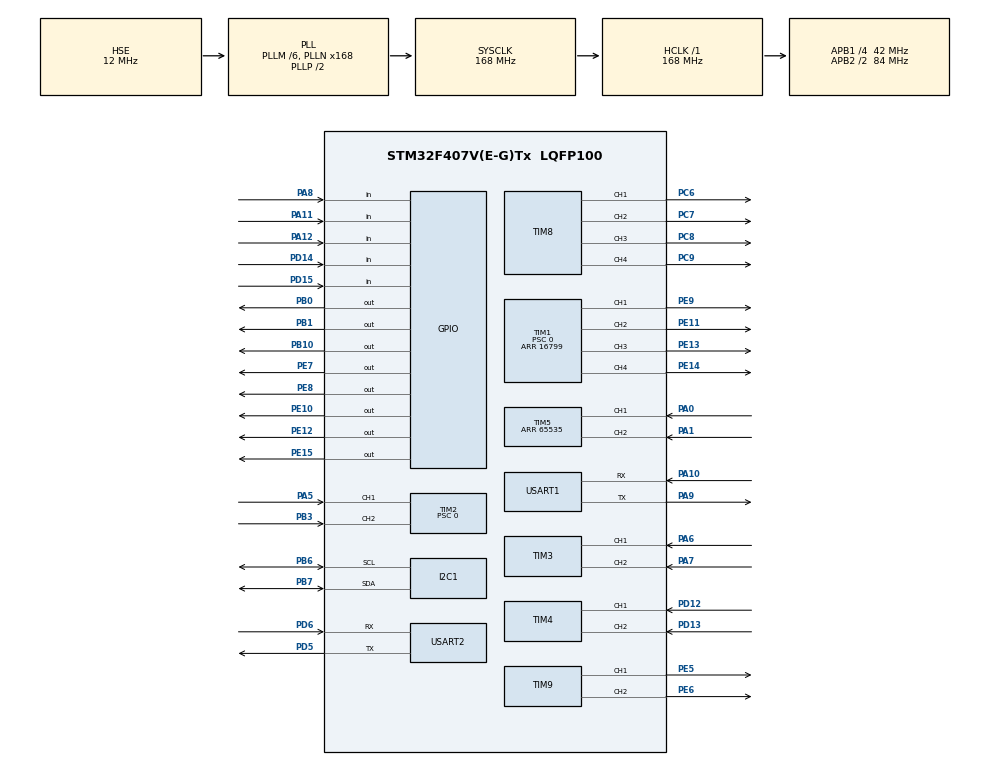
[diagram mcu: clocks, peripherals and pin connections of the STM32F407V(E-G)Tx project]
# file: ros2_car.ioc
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FREERTOS.Tasks01=defaultTask,0,128,StartDefaultTask,Default,NULL,Dynamic,NULL,NULL;show_task,-3,128,StartTask02,Default,NULL,Dynamic,NULL,NULL;motor_task,-3,128,Motor_task,Default,NULL,Dynamic,NULL,NULL
I2C1.I2C_Mode=I2C_Fast
Mcu.Family=STM32F4
Mcu.Name=STM32F407V(E-G)Tx
Mcu.Package=LQFP100
NVIC.PriorityGroup=NVIC_PRIORITYGROUP_4
NVIC.TIM7_IRQn=true\:15\:0\:false\:false\:true\:false\:false\:true\:true
NVIC.TimeBase=TIM7_IRQn
NVIC.TimeBaseIP=TIM7
PA0-WKUP.Signal=S_TIM5_CH1
PA1.Signal=S_TIM5_CH2
PA10.Mode=Asynchronous
PA10.Signal=USART1_RX
PA11.Signal=GPIO_Input
PA12.Signal=GPIO_Input
PA13.Mode=Serial_Wire
PA13.Signal=SYS_JTMS-SWDIO
PA14.Mode=Serial_Wire
PA14.Signal=SYS_JTCK-SWCLK
PA5.Signal=S_TIM2_CH1_ETR
PA6.Signal=S_TIM3_CH1
PA7.Signal=S_TIM3_CH2
PA8.Signal=GPIO_Input
PA9.Mode=Asynchronous
PA9.Signal=USART1_TX
PB0.Signal=GPIO_Output
PB1.Signal=GPIO_Output
PB10.Signal=GPIO_Output
PB3.Signal=S_TIM2_CH2
PB6.Mode=I2C
PB6.Signal=I2C1_SCL
PB7.Mode=I2C
PB7.Signal=I2C1_SDA
PC6.Signal=S_TIM8_CH1
PC7.Signal=S_TIM8_CH2
PC8.Signal=S_TIM8_CH3
PC9.Signal=S_TIM8_CH4
PD12.Signal=S_TIM4_CH1
PD13.Signal=S_TIM4_CH2
PD14.Signal=GPIO_Input
PD15.Signal=GPIO_Input
PD5.Mode=Asynchronous
PD5.Signal=USART2_TX
PD6.Mode=Asynchronous
PD6.Signal=USART2_RX
PE10.Signal=GPIO_Output
PE11.Signal=S_TIM1_CH2
PE12.Signal=GPIO_Output
PE13.Signal=S_TIM1_CH3
PE14.Signal=S_TIM1_CH4
PE15.Signal=GPIO_Output
PE5.Signal=S_TIM9_CH1
PE6.Signal=S_TIM9_CH2
PE7.Signal=GPIO_Output
PE8.Signal=GPIO_Output
PE9.Signal=S_TIM1_CH1
PH0-OSC_IN.Mode=HSE-External-Oscillator
PH0-OSC_IN.Signal=RCC_OSC_IN
PH1-OSC_OUT.Mode=HSE-External-Oscillator
PH1-OSC_OUT.Signal=RCC_OSC_OUT
ProjectManager.HeapSize=0x200
ProjectManager.StackSize=0x400
ProjectManager.TargetToolchain=CMake
RCC.48MHZClocksFreq_Value=84000000
RCC.AHBFreq_Value=168000000
RCC.APB1CLKDivider=RCC_HCLK_DIV4
RCC.APB1Freq_Value=42000000
RCC.APB1TimFreq_Value=84000000
RCC.APB2CLKDivider=RCC_HCLK_DIV2
RCC.APB2Freq_Value=84000000
RCC.APB2TimFreq_Value=168000000
RCC.CortexFreq_Value=168000000
RCC.HCLKFreq_Value=168000000
RCC.HSE_VALUE=12000000
RCC.HSI_VALUE=16000000
RCC.LSE_VALUE=32768
RCC.PLLM=6
RCC.PLLN=168
RCC.PLLSourceVirtual=RCC_PLLSOURCE_HSE
RCC.SYSCLKFreq_VALUE=168000000
RCC.SYSCLKSource=RCC_SYSCLKSOURCE_PLLCLK
RCC.VCOOutputFreq_Value=336000000
SH.S_TIM1_CH1.0=TIM1_CH1,PWM Generation1 CH1
SH.S_TIM1_CH2.0=TIM1_CH2,PWM Generation2 CH2
SH.S_TIM1_CH3.0=TIM1_CH3,PWM Generation3 CH3
SH.S_TIM1_CH4.0=TIM1_CH4,PWM Generation4 CH4
SH.S_TIM2_CH1_ETR.0=TIM2_CH1,Encoder_Interface
SH.S_TIM2_CH2.0=TIM2_CH2,Encoder_Interface
SH.S_TIM3_CH1.0=TIM3_CH1,Encoder_Interface
SH.S_TIM3_CH2.0=TIM3_CH2,Encoder_Interface
SH.S_TIM4_CH1.0=TIM4_CH1,Encoder_Interface
SH.S_TIM4_CH2.0=TIM4_CH2,Encoder_Interface
SH.S_TIM5_CH1.0=TIM5_CH1,Encoder_Interface
SH.S_TIM5_CH2.0=TIM5_CH2,Encoder_Interface
SH.S_TIM8_CH1.0=TIM8_CH1,PWM Generation1 CH1
SH.S_TIM8_CH2.0=TIM8_CH2,PWM Generation2 CH2
SH.S_TIM8_CH3.0=TIM8_CH3,PWM Generation3 CH3
SH.S_TIM8_CH4.0=TIM8_CH4,PWM Generation4 CH4
SH.S_TIM9_CH1.0=TIM9_CH1,PWM Generation1 CH1
SH.S_TIM9_CH2.0=TIM9_CH2,PWM Generation2 CH2
TIM1.Channel-PWM\ Generation1\ CH1=TIM_CHANNEL_1
TIM1.Channel-PWM\ Generation2\ CH2=TIM_CHANNEL_2
TIM1.Channel-PWM\ Generation3\ CH3=TIM_CHANNEL_3
TIM1.Channel-PWM\ Generation4\ CH4=TIM_CHANNEL_4
TIM1.Period=16799
TIM1.Prescaler=0
TIM2.Period=65535
TIM2.Prescaler=0
TIM5.Period=65535
TIM8.Channel-PWM\ Generation1\ CH1=TIM_CHANNEL_1
TIM8.Channel-PWM\ Generation2\ CH2=TIM_CHANNEL_2
TIM8.Channel-PWM\ Generation3\ CH3=TIM_CHANNEL_3
TIM8.Channel-PWM\ Generation4\ CH4=TIM_CHANNEL_4
TIM9.Channel-PWM\ Generation1\ CH1=TIM_CHANNEL_1
TIM9.Channel-PWM\ Generation2\ CH2=TIM_CHANNEL_2
USART1.VirtualMode=VM_ASYNC
USART2.VirtualMode=VM_ASYNC
VP_FREERTOS_VS_CMSIS_V1.Mode=CMSIS_V1
VP_SYS_VS_tim7.Mode=TIM7
VP_TIM1_VS_ClockSourceINT.Mode=Internal
VP_TIM8_VS_ClockSourceINT.Mode=Internal
VP_TIM9_VS_ClockSourceINT.Mode=Internal
board=custom

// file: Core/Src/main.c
/* USER CODE BEGIN Header */
/**
 ******************************************************************************
 * @file           : main.c
 * @brief          : Main program body
 ******************************************************************************
 * @attention
 *
 * Copyright (c) 2026 STMicroelectronics.
 * All rights reserved.
 *
 * This software is licensed under terms that can be found in the LICENSE file
 * in the root directory of this software component.
 * If no LICENSE file comes with this software, it is provided AS-IS.
 *
 ******************************************************************************
 */
/* USER CODE END Header */
#include "main.h"
#include "cmsis_os.h"
#include "i2c.h"
#include "tim.h"
#include "usart.h"
#include "gpio.h"

/* USER CODE BEGIN Includes */
#include "font.h"
#include "oled.h"

/* USER CODE END Includes */

void SystemClock_Config(void);
void MX_FREERTOS_Init(void);

int main(void)
{

  /* MCU Configuration--------------------------------------------------------*/

  /* Reset of all peripherals, Initializes the Flash interface and the Systick. */
  HAL_Init();

  /* Configure the system clock */
  SystemClock_Config();

  /* Initialize all configured peripherals */
  MX_GPIO_Init();
  MX_TIM1_Init();
  MX_TIM2_Init();
  MX_TIM3_Init();
  MX_TIM4_Init();
  MX_TIM5_Init();
  MX_I2C1_Init();
  MX_TIM8_Init();
  MX_TIM9_Init();
  MX_USART1_UART_Init();
  MX_USART2_UART_Init();
  /* USER CODE BEGIN 2 */
  HAL_Delay(20);
  OLED_Init();
  /* USER CODE END 2 */

  /* Call init function for freertos objects (in cmsis_os2.c) */
  MX_FREERTOS_Init();

  /* Start scheduler */
  osKernelStart();

  /* We should never get here as control is now taken by the scheduler */

  /* Infinite loop */
  while (1) {

  }
}

void SystemClock_Config(void)
{
  RCC_OscInitTypeDef RCC_OscInitStruct = {0};
  RCC_ClkInitTypeDef RCC_ClkInitStruct = {0};

  /** Configure the main internal regulator output voltage
  */
  __HAL_RCC_PWR_CLK_ENABLE();
  __HAL_PWR_VOLTAGESCALING_CONFIG(PWR_REGULATOR_VOLTAGE_SCALE1);

  /** Initializes the RCC Oscillators according to the specified parameters
  * in the RCC_OscInitTypeDef structure.
  */
  RCC_OscInitStruct.OscillatorType = RCC_OSCILLATORTYPE_HSE;
  RCC_OscInitStruct.HSEState = RCC_HSE_ON;
  RCC_OscInitStruct.PLL.PLLState = RCC_PLL_ON;
  RCC_OscInitStruct.PLL.PLLSource = RCC_PLLSOURCE_HSE;
  RCC_OscInitStruct.PLL.PLLM = 6;
  RCC_OscInitStruct.PLL.PLLN = 168;
  RCC_OscInitStruct.PLL.PLLP = RCC_PLLP_DIV2;
  RCC_OscInitStruct.PLL.PLLQ = 4;
  if (HAL_RCC_OscConfig(&RCC_OscInitStruct) != HAL_OK)
  {
    Error_Handler();
  }

  /** Initializes the CPU, AHB and APB buses clocks
  */
  RCC_ClkInitStruct.ClockType = RCC_CLOCKTYPE_HCLK|RCC_CLOCKTYPE_SYSCLK
                              |RCC_CLOCKTYPE_PCLK1|RCC_CLOCKTYPE_PCLK2;
  RCC_ClkInitStruct.SYSCLKSource = RCC_SYSCLKSOURCE_PLLCLK;
  RCC_ClkInitStruct.AHBCLKDivider = RCC_SYSCLK_DIV1;
  RCC_ClkInitStruct.APB1CLKDivider = RCC_HCLK_DIV4;
  RCC_ClkInitStruct.APB2CLKDivider = RCC_HCLK_DIV2;

  if (HAL_RCC_ClockConfig(&RCC_ClkInitStruct, FLASH_LATENCY_5) != HAL_OK)
  {
    Error_Handler();
  }
}

void HAL_TIM_PeriodElapsedCallback(TIM_HandleTypeDef *htim)
{
  if (htim->Instance == TIM7)
  {
    HAL_IncTick();
  }
}

void Error_Handler(void)
{
  __disable_irq();
  while (1) {
  }
}
#ifdef USE_FULL_ASSERT
/**
  * @brief  Reports the name of the source file and the source line number
  *         where the assert_param error has occurred.
  * @param  file: pointer to the source file name
  * @param  line: assert_param error line source number
  * @retval None
  */
void assert_failed(uint8_t *file, uint32_t line)
{
  /* USER CODE BEGIN 6 */
  /* User can add his own implementation to report the file name and line
     number, ex: printf("Wrong parameters value: file %s on line %d\r\n", file,
     line) */
  /* USER CODE END 6 */
}
#endif /* USE_FULL_ASSERT */

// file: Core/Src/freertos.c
/* USER CODE BEGIN Header */
/**
 ******************************************************************************
 * File Name          : freertos.c
 * Description        : Code for freertos applications
 ******************************************************************************
 * @attention
 *
 * Copyright (c) 2026 STMicroelectronics.
 * All rights reserved.
 *
 * This software is licensed under terms that can be found in the LICENSE file
 * in the root directory of this software component.
 * If no LICENSE file comes with this software, it is provided AS-IS.
 *
 ******************************************************************************
 */
/* USER CODE END Header */

#include "FreeRTOS.h"
#include "cmsis_os.h"
#include "main.h"
#include "task.h"

/* USER CODE BEGIN Includes */
#include "encoder.h"
#include "font.h"
#include "oled.h"
#include "tim.h"

/* USER CODE END Includes */

osThreadId defaultTaskHandle;
osThreadId show_taskHandle;
osThreadId motor_taskHandle;

void StartDefaultTask(void const *argument);
void StartTask02(void const *argument);
void Motor_task(void const *argument);

void MX_FREERTOS_Init(void); /* (MISRA C 2004 rule 8.1) */

/* GetIdleTaskMemory prototype (linked to static allocation support) */
void vApplicationGetIdleTaskMemory(StaticTask_t **ppxIdleTaskTCBBuffer,
                                   StackType_t **ppxIdleTaskStackBuffer,
                                   uint32_t *pulIdleTaskStackSize);

/* USER CODE BEGIN GET_IDLE_TASK_MEMORY */
static StaticTask_t xIdleTaskTCBBuffer;
static StackType_t xIdleStack[configMINIMAL_STACK_SIZE];

void vApplicationGetIdleTaskMemory(StaticTask_t **ppxIdleTaskTCBBuffer,
                                   StackType_t **ppxIdleTaskStackBuffer,
                                   uint32_t *pulIdleTaskStackSize) {
  *ppxIdleTaskTCBBuffer = &xIdleTaskTCBBuffer;
  *ppxIdleTaskStackBuffer = &xIdleStack[0];
  *pulIdleTaskStackSize = configMINIMAL_STACK_SIZE;
  /* place for user code */
}
/* USER CODE END GET_IDLE_TASK_MEMORY */

void MX_FREERTOS_Init(void) {

  /* Create the thread(s) */
  /* definition and creation of defaultTask */
  osThreadDef(defaultTask, StartDefaultTask, osPriorityNormal, 0, 128);
  defaultTaskHandle = osThreadCreate(osThread(defaultTask), NULL);

  /* definition and creation of show_task */
  osThreadDef(show_task, StartTask02, osPriorityIdle, 0, 128);
  show_taskHandle = osThreadCreate(osThread(show_task), NULL);

  /* definition and creation of motor_task */
  osThreadDef(motor_task, Motor_task, osPriorityIdle, 0, 128);
  motor_taskHandle = osThreadCreate(osThread(motor_task), NULL);

}

void StartDefaultTask(void const *argument) {
  for (;;) {
    osDelay(1);
  }
}

void StartTask02(void const *argument) {
  /* USER CODE BEGIN StartTask02 */
  /* Infinite loop */
  for (;;) {
    // OLED_NewFrame();
    // OLED_PrintString(1, 1, "hello", &font16x16, OLED_COLOR_NORMAL);
    // OLED_ShowFrame();
    osDelay(1);
  }
  /* USER CODE END StartTask02 */
}

void Motor_task(void const *argument) {
  /* USER CODE BEGIN Motor_task */
  encoder_init();
  Motor_speed ms;
  // pwm电机测试
  //  HAL_GPIO_WritePin(GPIOB, GPIO_PIN_0, GPIO_PIN_SET);
  //  HAL_GPIO_WritePin(GPIOB, GPIO_PIN_1, GPIO_PIN_RESET);
  //  HAL_GPIO_WritePin(GPIOE, GPIO_PIN_7, GPIO_PIN_SET);
  //  HAL_GPIO_WritePin(GPIOE, GPIO_PIN_8, GPIO_PIN_RESET);
  //  HAL_GPIO_WritePin(GPIOE, GPIO_PIN_10, GPIO_PIN_SET);
  //  HAL_GPIO_WritePin(GPIOE, GPIO_PIN_12, GPIO_PIN_RESET);
  //  HAL_GPIO_WritePin(GPIOE, GPIO_PIN_15, GPIO_PIN_SET);
  //  HAL_GPIO_WritePin(GPIOB, GPIO_PIN_10, GPIO_PIN_RESET);
  //  HAL_TIM_PWM_Start(&htim1, TIM_CHANNEL_1);
  //  HAL_TIM_PWM_Start(&htim1, TIM_CHANNEL_2);
  //  HAL_TIM_PWM_Start(&htim1, TIM_CHANNEL_3);
  //  HAL_TIM_PWM_Start(&htim1, TIM_CHANNEL_4);
  //  __HAL_TIM_SET_COMPARE(&htim1, TIM_CHANNEL_1, 4200);
  //  __HAL_TIM_SET_COMPARE(&htim1, TIM_CHANNEL_2, 4200);
  //  __HAL_TIM_SET_COMPARE(&htim1, TIM_CHANNEL_3, 4200);
  //  __HAL_TIM_SET_COMPARE(&htim1, TIM_CHANNEL_4, 4200);
  /* Infinite loop */
  for (;;) {
    update_speed(&ms);
    OLED_NewFrame();
    OLED_PrintAt(0, 0, &afont16x8, OLED_COLOR_NORMAL, "A:%ld", ms.va);
    OLED_PrintAt(0, 16, &afont16x8, OLED_COLOR_NORMAL, "B:%ld", ms.vb);
    OLED_PrintAt(0, 32, &afont16x8, OLED_COLOR_NORMAL, "C:%ld", ms.vc);
    OLED_PrintAt(0, 48, &afont16x8, OLED_COLOR_NORMAL, "D:%ld", ms.vd);
    OLED_ShowFrame();
    osDelay(10);
  }
  /* USER CODE END Motor_task */
}
